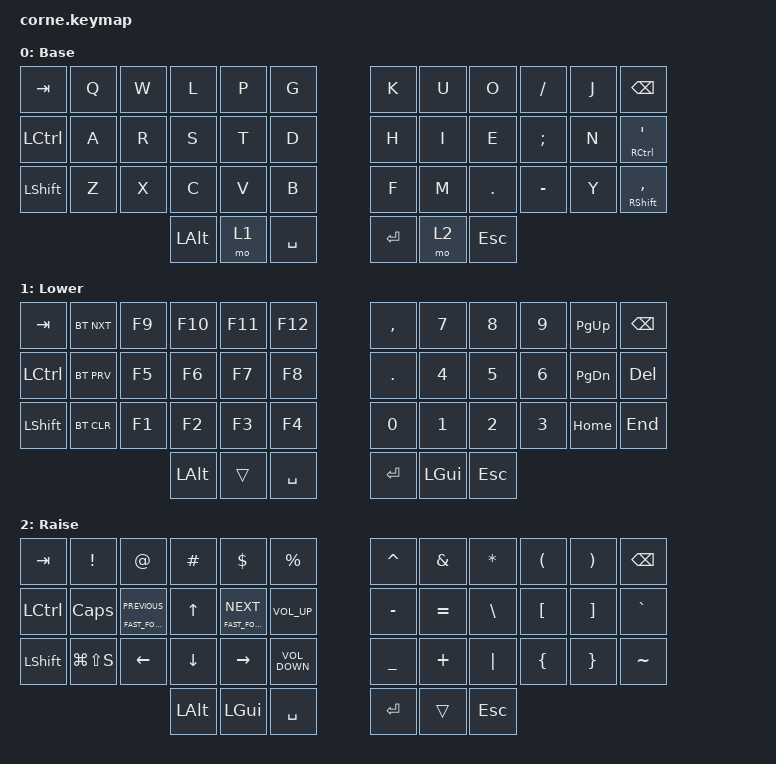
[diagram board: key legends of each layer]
/*
 * Copyright (c) 2020 The ZMK Contributors
 *
 * SPDX-License-Identifier: MIT
 */

#include <behaviors.dtsi>
#include <dt-bindings/zmk/bt.h>
#include <dt-bindings/zmk/keys.h>

/ {
    keymap {
        compatible = "zmk,keymap";

        default_layer {
            // -----------------------------------------------------------------------------------------
            // |  TAB |  Q  |  W  |  E  |  R  |  T  |   |  Y  |  U   |  I  |  O  |  P  | BKSP |
            // | CTRL |  A  |  S  |  D  |  F  |  G  |   |  H  |  J   |  K  |  L  |  ;  |  '   |
            // | SHFT |  Z  |  X  |  C  |  V  |  B  |   |  N  |  M   |  ,  |  .  |  /  | ESC  |
            //                    | GUI | LWR | SPC |   | ENT | RSE  | ALT |

            display-name = "Base";
            bindings = <
&kp TAB    &kp Q  &kp W  &kp L         &kp P  &kp G        &kp K    &kp U  &kp O       &kp SLASH      &kp J  &kp BSPC
&kp LCTRL  &kp A  &kp R  &kp S         &kp T  &kp D        &kp H    &kp I  &kp E       &kp SEMICOLON  &kp N  &mt RCTRL SQT
&kp LSHFT  &kp Z  &kp X  &kp C         &kp V  &kp B        &kp F    &kp M  &kp PERIOD  &kp MINUS      &kp Y  &mt RIGHT_SHIFT COMMA
                         &kp LEFT_ALT  &mo 1  &kp SPACE    &kp RET  &mo 2  &kp ESC
            >;
        };

        lower_layer {
            // -----------------------------------------------------------------------------------------
            // |  TAB |  1  |  2  |  3  |  4  |  5  |   |  6  |  7  |  8  |  9  |  0  | BKSP |
            // | BTCLR| BT1 | BT2 | BT3 | BT4 | BT5 |   | LFT | DWN |  UP | RGT |     |      |
            // | SHFT |     |     |     |     |     |   |     |     |     |     |     |      |
            //                    | GUI |     | SPC |   | ENT |     | ALT |

            display-name = "Lower";
            bindings = <
&kp TAB    &bt BT_NXT  &kp F9  &kp F10       &kp F11  &kp F12      &kp COMMA   &kp N7        &kp N8        &kp N9        &kp PAGE_UP    &kp BSPC
&kp LCTRL  &bt BT_PRV  &kp F5  &kp F6        &kp F7   &kp F8       &kp PERIOD  &kp NUMBER_4  &kp N5        &kp NUMBER_6  &kp PAGE_DOWN  &kp DELETE
&kp LSHFT  &bt BT_CLR  &kp F1  &kp F2        &kp F3   &kp F4       &kp N0      &kp NUMBER_1  &kp NUMBER_2  &kp NUMBER_3  &kp HOME       &kp END
                               &kp LEFT_ALT  &trans   &kp SPACE    &kp RET     &kp LEFT_GUI  &kp ESCAPE
            >;
        };

        raise_layer {
            // -----------------------------------------------------------------------------------------
            // |  TAB |  !  |  @  |  #  |  $  |  %  |   |  ^  |  &  |  *  |  (  |  )  | BKSP |
            // | CTRL |     |     |     |     |     |   |  -  |  =  |  [  |  ]  |  \  |  `   |
            // | SHFT |     |     |     |     |     |   |  _  |  +  |  {  |  }  | "|" |  ~   |
            //                    | GUI |     | SPC |   | ENT |     | ALT |

            display-name = "Raise";
            bindings = <
&kp TAB    &kp EXCL       &kp AT                         &kp HASH        &kp DLLR                   &kp PRCNT            &kp CARET  &kp AMPS   &kp ASTRK      &kp LPAR  &kp RPAR  &kp BSPC
&kp LCTRL  &kp CAPS       &mt C_FAST_FORWARD C_PREVIOUS  &kp UP_ARROW    &mt C_FAST_FORWARD C_NEXT  &kp C_VOLUME_UP      &kp MINUS  &kp EQUAL  &kp BACKSLASH  &kp LBKT  &kp RBKT  &kp GRAVE
&kp LSHFT  &kp LG(LS(S))  &kp LEFT                       &kp DOWN_ARROW  &kp RIGHT                  &kp C_VOLUME_DOWN    &kp UNDER  &kp PLUS   &kp PIPE       &kp LBRC  &kp RBRC  &kp TILDE
                                                         &kp LEFT_ALT    &kp LEFT_GUI               &kp SPACE            &kp RET    &trans     &kp ESC
            >;
        };
    };
};
